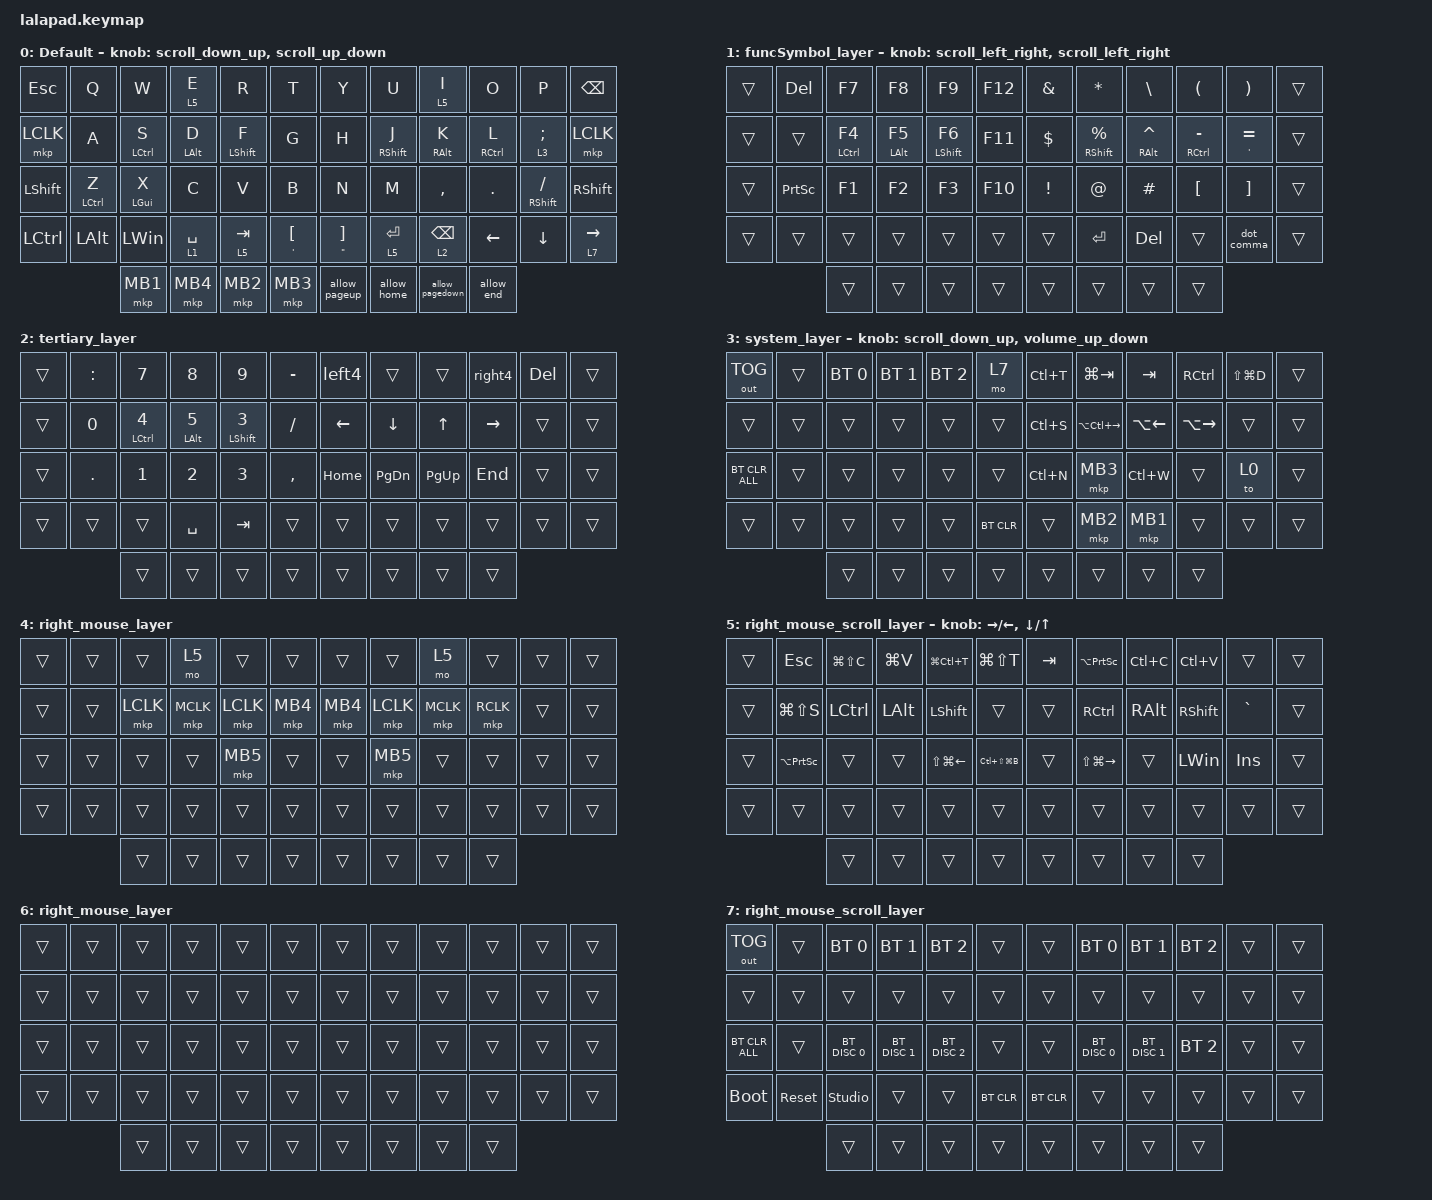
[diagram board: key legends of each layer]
#include <input/processors.dtsi>
#include <behaviors.dtsi>
#include <dt-bindings/zmk/bt.h>
#include <dt-bindings/zmk/keys.h>
#include <dt-bindings/zmk/outputs.h>
#include <dt-bindings/zmk/pointing.h>

#define DEFAULT_LAYER   0
#define SECONDARY_LAYER 1
#define TERTIARY_LAYER  2
#define SYSTEM_LAYER    3
#define MOUSE_R_LAYER   4
#define SCROLL_R_LAYER  5
#define MOUSE_L_LAYER   6
#define SCROLL_L_LAYER  7

// Mouse Scroll Value

#define ZMK_POINTING_DEFAULT_SCRL_VAL 100

// cirque trackpad input&layer control

&glidepoint_listener_R {
    input-processors =
        <&zip_xy_transform (INPUT_TRANSFORM_XY_SWAP | INPUT_TRANSFORM_X_INVERT | INPUT_TRANSFORM_Y_INVERT)>,
        <&zip_xy_scaler 3 2>,
        <&zip_temp_layer MOUSE_R_LAYER 500>;

    lowspeedmode {
        layers = <SECONDARY_LAYER>;
        input-processors =
            <&zip_xy_transform (INPUT_TRANSFORM_XY_SWAP | INPUT_TRANSFORM_X_INVERT | INPUT_TRANSFORM_Y_INVERT)>,
            <&zip_xy_scaler 3 5>,
            <&zip_temp_layer MOUSE_R_LAYER 500>;
    };

    scroller {
        layers = <SCROLL_R_LAYER>;
        input-processors =
            <&zip_xy_to_scroll_mapper>,
            <&zip_scroll_transform (INPUT_TRANSFORM_XY_SWAP | INPUT_TRANSFORM_Y_INVERT)>,
            <&zip_scroll_scaler 1 8>;
    };
};

&glidepoint_listener_L {
    input-processors =
        <&zip_xy_transform (INPUT_TRANSFORM_XY_SWAP | INPUT_TRANSFORM_X_INVERT | INPUT_TRANSFORM_Y_INVERT)>,
        <&zip_xy_scaler 3 2>,
        <&zip_temp_layer MOUSE_L_LAYER 500>;

    lowspeedmode {
        layers = <SECONDARY_LAYER>;
        input-processors =
            <&zip_xy_transform (INPUT_TRANSFORM_XY_SWAP | INPUT_TRANSFORM_X_INVERT | INPUT_TRANSFORM_Y_INVERT)>,
            <&zip_xy_scaler 3 4>,
            <&zip_temp_layer MOUSE_L_LAYER 500>;
    };

    scroller {
        layers = <SCROLL_L_LAYER>;
        input-processors =
            <&zip_xy_to_scroll_mapper>,
            <&zip_scroll_transform (INPUT_TRANSFORM_XY_SWAP | INPUT_TRANSFORM_Y_INVERT)>,
            <&zip_scroll_scaler 1 6>;
    };
};

&lt { quick-tap-ms = <300>; };

/ {
    behaviors {
        // Encoder to Mouse Scroll

        scroll_up_down: behavior_sensor_rotate_mouse_wheel_up_down {
            compatible = "zmk,behavior-sensor-rotate";
            #sensor-binding-cells = <0>;
            bindings = <&msc SCRL_UP>, <&msc SCRL_DOWN>;

            tap-ms = <20>;
        };

        scroll_down_up: behavior_sensor_rotate_mouse_wheel_down_up {
            compatible = "zmk,behavior-sensor-rotate";
            #sensor-binding-cells = <0>;
            bindings = <&msc SCRL_DOWN>, <&msc SCRL_UP>;

            tap-ms = <20>;
        };

        scroll_left_right: behavior_sensor_rotate_mouse_wheel_left_right {
            compatible = "zmk,behavior-sensor-rotate";
            #sensor-binding-cells = <0>;
            bindings = <&msc SCRL_LEFT>, <&msc SCRL_RIGHT>;

            tap-ms = <20>;
        };

        scroll_right_left: behavior_sensor_rotate_mouse_wheel_right_left {
            compatible = "zmk,behavior-sensor-rotate";
            #sensor-binding-cells = <0>;
            bindings = <&msc SCRL_RIGHT>, <&msc SCRL_LEFT>;

            tap-ms = <20>;
        };

        volume_up_down: behavior_sensor_rotate_volume_up_down {
            compatible = "zmk,behavior-sensor-rotate";
            #sensor-binding-cells = <0>;
            bindings = <&kp C_VOLUME_UP>, <&kp C_VOLUME_DOWN>;

            tap-ms = <20>;
        };

        dot_comma: dot_comma {
            compatible = "zmk,behavior-mod-morph";
            #binding-cells = <0>;
            bindings = <&kp KP_DOT>, <&kp COMMA>;

            mods = <(MOD_LSFT|MOD_RSFT)>;
            label = "DOT_COMMA";
        };

        pls_minus: pls_minus {
            compatible = "zmk,behavior-mod-morph";
            #binding-cells = <0>;
            bindings = <&kp PLUS>, <&kp MINUS>;

            mods = <(MOD_LSFT|MOD_RSFT)>;
            label = "PLS_MINUS";
        };

        allow_pageup: allow_pageup {
            compatible = "zmk,behavior-mod-morph";
            #binding-cells = <0>;
            bindings = <&kp UP>, <&kp PAGE_UP>;

            mods = <(MOD_LCTL|MOD_RCTL)>;
            label = "ALLOW_PAGEUP";
        };

        allow_pagedown: allow_pagedown {
            compatible = "zmk,behavior-mod-morph";
            #binding-cells = <0>;
            bindings = <&kp DOWN>, <&kp PAGE_DOWN>;

            mods = <(MOD_LCTL|MOD_RCTL)>;
            label = "ALLOW_PAGEDOWN";
        };

        allow_home: allow_home {
            compatible = "zmk,behavior-mod-morph";
            #binding-cells = <0>;
            bindings = <&kp LEFT>, <&kp HOME>;

            mods = <(MOD_LCTL|MOD_RCTL)>;
            label = "ALLOW_HOME";
        };

        allow_end: allow_end {
            compatible = "zmk,behavior-mod-morph";
            #binding-cells = <0>;
            bindings = <&kp RIGHT>, <&kp END>;

            mods = <(MOD_LCTL|MOD_RCTL)>;
            label = "ALLOW_END";
        };

        mt2: mod_tap2 {
            compatible = "zmk,behavior-hold-tap";
            #binding-cells = <2>;
            flavor = "tap-preferred";
            tapping-term-ms = <200>;
            quick-tap-ms = <200>;
            require-prior-idle-ms = <125>;
            bindings = <&kp>, <&kp>;
        };
    };

    combos {
        compatible = "zmk,combos";

        toJp {
            bindings = <&kp LANG1>;
            key-positions = <32 31>;
        };

        toEng {
            bindings = <&kp LANG2>;
            key-positions = <27 28>;
        };

        Esc {
            bindings = <&kp ESC>;
            key-positions = <2 1>;
        };

        minus {
            bindings = <&kp MINUS>;
            key-positions = <21 22>;
        };

        single {
            bindings = <&kp SINGLE_QUOTE>;
            key-positions = <33 34>;
        };

        cmb_mb2 {
            bindings = <&mkp MB2>;
            key-positions = <16 15>;
        };

        cmb_mb3 {
            bindings = <&mkp MB3>;
            key-positions = <25 26>;
        };
    };

    macros {
        space4: space4 {
            compatible = "zmk,behavior-macro";
            #binding-cells = <0>;
            bindings = <&kp SPACE &kp SPACE &kp SPACE &kp SPACE>;
            label = "SPACE4";
        };

        right4: right4 {
            compatible = "zmk,behavior-macro";
            #binding-cells = <0>;
            bindings = <&kp RIGHT &kp RIGHT &kp RIGHT &kp RIGHT>;
            label = "RIGHT4";
        };

        left4: left4 {
            compatible = "zmk,behavior-macro";
            #binding-cells = <0>;
            bindings = <&kp LEFT &kp LEFT &kp LEFT &kp LEFT>;
            label = "LEFT4";
        };
    };

    keymap {
        compatible = "zmk,keymap";

        DEFAULT_LAYER {
            display-name = "Default";
            sensor-bindings = <&scroll_down_up>, <&scroll_up_down>;

            bindings = <
&kp ESC     &kp Q         &kp W            &lt 5 E      &kp R          &kp T                  &kp Y                             &kp U          &lt 5 I           &kp O         &kp P              &kp BACKSPACE
&mkp LCLK   &kp A         &mt2 LCTRL S     &mt2 LALT D  &mt2 LSHIFT F  &kp G                  &kp H                             &mt2 RSHIFT J  &mt2 RIGHT_ALT K  &mt2 RCTRL L  &lt 3 SEMICOLON    &mkp LCLK
&kp LSHIFT  &mt2 LCTRL Z  &mt2 LEFT_GUI X  &kp C        &kp V          &kp B                  &kp N                             &kp M          &kp COMMA         &kp PERIOD    &mt2 RSHIFT SLASH  &kp RSHIFT
&kp LCTRL   &kp LEFT_ALT  &kp LWIN         &lt 1 SPACE  &lt 5 TAB      &mt2 SQT LEFT_BRACKET  &mt2 DOUBLE_QUOTES RIGHT_BRACKET  &lt 5 ENTER    &lt 2 BACKSPACE   &kp LEFT      &kp DOWN           &lt 7 RIGHT
                          &mkp MB1         &mkp MB4     &mkp MB2       &mkp MB3               &allow_pageup                     &allow_home    &allow_pagedown   &allow_end
            >;
        };

        SECONDARY_LAYER {
            display-name = "funcSymbol_layer";
            sensor-bindings = <&scroll_left_right>, <&scroll_left_right>;

            bindings = <
&trans  &kp DELETE       &kp F7         &kp F8        &kp F9          &kp F12  &kp AMPERSAND    &kp ASTERISK         &kp BACKSLASH         &kp LEFT_PARENTHESIS  &kp RIGHT_PARENTHESIS    &trans
&trans  &trans           &mt2 LCTRL F4  &mt2 LALT F5  &mt2 LSHIFT F6  &kp F11  &kp DOLLAR       &mt2 RSHIFT PERCENT  &mt2 RIGHT_ALT CARET  &mt2 RCTRL MINUS      &mt2 SINGLE_QUOTE EQUAL  &trans
&trans  &kp PRINTSCREEN  &kp F1         &kp F2        &kp F3          &kp F10  &kp EXCLAMATION  &kp AT_SIGN          &kp HASH              &kp LBKT              &kp RIGHT_BRACKET        &trans
&trans  &trans           &trans         &trans        &trans          &trans   &trans           &kp ENTER            &kp DELETE            &trans                &dot_comma               &trans
                         &trans         &trans        &trans          &trans   &trans           &trans               &trans                &trans
            >;
        };

        TERTIARY_LAYER {
            display-name = "tertiary_layer";
            bindings = <
&trans  &kp COLON   &kp N7               &kp N8            &kp N9                &kp MINUS  &left4    &trans         &trans        &right4    &kp DELETE  &trans
&trans  &kp N0      &mt2 LCTRL NUMBER_4  &mt2 LEFT_ALT N5  &mt2 LSHIFT NUMBER_3  &kp SLASH  &kp LEFT  &kp DOWN       &kp UP_ARROW  &kp RIGHT  &trans      &trans
&trans  &kp PERIOD  &kp NUMBER_1         &kp NUMBER_2      &kp NUMBER_3          &kp COMMA  &kp HOME  &kp PAGE_DOWN  &kp PAGE_UP   &kp END    &trans      &trans
&trans  &trans      &trans               &kp SPACE         &kp TAB               &trans     &trans    &trans         &trans        &trans     &trans      &trans
                    &trans               &trans            &trans                &trans     &trans    &trans         &trans        &trans
            >;
        };

        SYSTEM_LAYER {
            display-name = "system_layer";
            sensor-bindings = <&scroll_down_up>, <&volume_up_down>;

            bindings = <
&out OUT_TOG    &trans  &bt BT_SEL 0  &bt BT_SEL 1  &bt BT_SEL 2  &mo 7       &kp LC(T)  &kp LG(TAB)        &kp TAB       &kp RCTRL      &kp LS(LG(D))  &trans
&trans          &trans  &trans        &trans        &trans        &trans      &kp LC(S)  &kp LA(LC(RIGHT))  &kp LA(LEFT)  &kp LA(RIGHT)  &trans         &trans
&bt BT_CLR_ALL  &trans  &trans        &trans        &trans        &trans      &kp LC(N)  &mkp MB3           &kp LC(W)     &trans         &to 0          &trans
&trans          &trans  &trans        &trans        &trans        &bt BT_CLR  &trans     &mkp MB2           &mkp MB1      &trans         &trans         &trans
                        &trans        &trans        &trans        &trans      &trans     &trans             &trans        &trans
            >;
        };

        MOUSE_R_LAYER {
            display-name = "right_mouse_layer";
            bindings = <
&trans  &trans  &trans     &mo 5      &trans     &trans    &trans    &trans     &mo 5      &trans     &trans  &trans
&trans  &trans  &mkp LCLK  &mkp MCLK  &mkp LCLK  &mkp MB4  &mkp MB4  &mkp LCLK  &mkp MCLK  &mkp RCLK  &trans  &trans
&trans  &trans  &trans     &trans     &mkp MB5   &trans    &trans    &mkp MB5   &trans     &trans     &trans  &trans
&trans  &trans  &trans     &trans     &trans     &trans    &trans    &trans     &trans     &trans     &trans  &trans
                &trans     &trans     &trans     &trans    &trans    &trans     &trans     &trans
            >;
        };

        SCROLL_R_LAYER {
            display-name = "right_mouse_scroll_layer";
            bindings = <
&trans  &kp ESCAPE           &kp LG(LS(C))  &kp LG(V)  &kp LG(LC(T))     &kp LG(LS(T))      &kp TAB  &kp LA(PRINTSCREEN)  &kp LC(C)      &kp LC(V)     &trans      &trans
&trans  &kp LG(LS(S))        &kp LCTRL      &kp LALT   &kp LSHIFT        &trans             &trans   &kp RCTRL            &kp RIGHT_ALT  &kp RSHIFT    &kp GRAVE   &trans
&trans  &kp LA(PRINTSCREEN)  &trans         &trans     &kp LS(LG(LEFT))  &kp LC(LS(LG(B)))  &trans   &kp LS(LG(RIGHT))    &trans         &kp LEFT_WIN  &kp INSERT  &trans
&trans  &trans               &trans         &trans     &trans            &trans             &trans   &trans               &trans         &trans        &trans      &trans
                             &trans         &trans     &trans            &trans             &trans   &trans               &trans         &trans
            >;

            sensor-bindings = <&inc_dec_kp RIGHT LEFT>, <&inc_dec_kp DOWN UP>;
        };

        MOUSE_L_LAYER {
            display-name = "right_mouse_layer";
            bindings = <
&trans  &trans  &trans  &trans  &trans  &trans  &trans  &trans  &trans  &trans  &trans  &trans
&trans  &trans  &trans  &trans  &trans  &trans  &trans  &trans  &trans  &trans  &trans  &trans
&trans  &trans  &trans  &trans  &trans  &trans  &trans  &trans  &trans  &trans  &trans  &trans
&trans  &trans  &trans  &trans  &trans  &trans  &trans  &trans  &trans  &trans  &trans  &trans
                &trans  &trans  &trans  &trans  &trans  &trans  &trans  &trans
            >;
        };

        SCROLL_L_LAYER {
            display-name = "right_mouse_scroll_layer";
            bindings = <
&out OUT_TOG    &trans      &bt BT_SEL 0    &bt BT_SEL 1   &bt BT_SEL 2   &trans      &trans      &bt BT_SEL 0   &bt BT_SEL 1   &bt BT_SEL 2  &trans  &trans
&trans          &trans      &trans          &trans         &trans         &trans      &trans      &trans         &trans         &trans        &trans  &trans
&bt BT_CLR_ALL  &trans      &bt BT_DISC 0   &bt BT_DISC 1  &bt BT_DISC 2  &trans      &trans      &bt BT_DISC 0  &bt BT_DISC 1  &bt BT_SEL 2  &trans  &trans
&bootloader     &sys_reset  &studio_unlock  &trans         &trans         &bt BT_CLR  &bt BT_CLR  &trans         &trans         &trans        &trans  &trans
                            &trans          &trans         &trans         &trans      &trans      &trans         &trans         &trans
            >;
        };
    };
};
